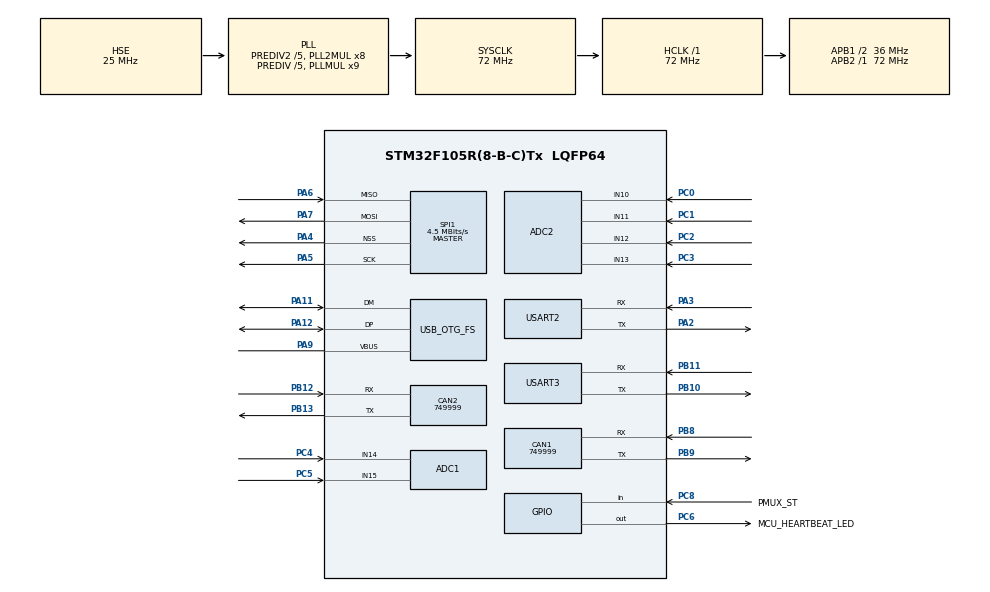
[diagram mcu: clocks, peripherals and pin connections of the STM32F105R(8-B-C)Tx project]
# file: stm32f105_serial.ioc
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ADC1.Channel-1\#ChannelRegularConversion=ADC_CHANNEL_14
ADC1.NbrOfConversionFlag=1
ADC1.Rank-1\#ChannelRegularConversion=1
ADC1.SamplingTime-1\#ChannelRegularConversion=ADC_SAMPLETIME_1CYCLE_5
ADC1.master=1
ADC2.Channel-0\#ChannelRegularConversion=ADC_CHANNEL_10
ADC2.NbrOfConversionFlag=1
ADC2.Rank-0\#ChannelRegularConversion=1
ADC2.SamplingTime-0\#ChannelRegularConversion=ADC_SAMPLETIME_1CYCLE_5
CAN1.BS1=CAN_BS1_1TQ
CAN1.BS2=CAN_BS2_1TQ
CAN1.CalculateBaudRate=749999
CAN1.CalculateTimeBit=1333
CAN1.CalculateTimeQuantum=444.44444444444446
CAN2.BS1=CAN_BS1_1TQ
CAN2.BS2=CAN_BS2_1TQ
CAN2.CalculateBaudRate=749999
CAN2.CalculateTimeBit=1333
CAN2.CalculateTimeQuantum=444.44444444444446
Mcu.Family=STM32F1
Mcu.Name=STM32F105R(8-B-C)Tx
Mcu.Package=LQFP64
NVIC.PriorityGroup=NVIC_PRIORITYGROUP_4
PA0-WKUP.GPIO_Label=MCU_USB_INT
PA0-WKUP.Mode=SYS_WakeUp0
PA0-WKUP.Signal=SYS_WKUP
PA11.Mode=Device_Only
PA11.Signal=USB_OTG_FS_DM
PA12.Mode=Device_Only
PA12.Signal=USB_OTG_FS_DP
PA13.Mode=Serial_Wire
PA13.Signal=SYS_JTMS-SWDIO
PA14.Mode=Serial_Wire
PA14.Signal=SYS_JTCK-SWCLK
PA2.Mode=Asynchronous
PA2.Signal=USART2_TX
PA3.Mode=Asynchronous
PA3.Signal=USART2_RX
PA4.Mode=NSS_Signal_Hard_Output
PA4.Signal=SPI1_NSS
PA5.Mode=Full_Duplex_Master
PA5.Signal=SPI1_SCK
PA6.Mode=Full_Duplex_Master
PA6.Signal=SPI1_MISO
PA7.Mode=Full_Duplex_Master
PA7.Signal=SPI1_MOSI
PA9.Mode=Activate_VBUS
PA9.Signal=USB_OTG_FS_VBUS
PB10.Mode=Asynchronous
PB10.Signal=USART3_TX
PB11.Mode=Asynchronous
PB11.Signal=USART3_RX
PB12.Mode=CAN_Activate
PB12.Signal=CAN2_RX
PB13.Mode=CAN_Activate
PB13.Signal=CAN2_TX
PB8.Mode=CAN_Activate
PB8.Signal=CAN1_RX
PB9.Mode=CAN_Activate
PB9.Signal=CAN1_TX
PC0.Signal=ADCx_IN10
PC1.Signal=ADCx_IN11
PC14-OSC32_IN.Mode=LSE-External-Oscillator
PC14-OSC32_IN.Signal=RCC_OSC32_IN
PC15-OSC32_OUT.Mode=LSE-External-Oscillator
PC15-OSC32_OUT.Signal=RCC_OSC32_OUT
PC2.Signal=ADCx_IN12
PC3.Signal=ADCx_IN13
PC4.Signal=ADCx_IN14
PC5.Signal=ADCx_IN15
PC6.GPIO_Label=MCU_HEARTBEAT_LED
PC6.Signal=GPIO_Output
PC8.GPIO_Label=PMUX_ST
PC8.Signal=GPIO_Input
PD0-OSC_IN.Mode=HSE-External-Oscillator
PD0-OSC_IN.Signal=RCC_OSC_IN
PD1-OSC_OUT.Mode=HSE-External-Oscillator
PD1-OSC_OUT.Signal=RCC_OSC_OUT
ProjectManager.HeapSize=0x200
ProjectManager.StackSize=0x400
ProjectManager.TargetToolchain=STM32CubeIDE
RCC.ADCPresc=RCC_ADCPCLK2_DIV6
RCC.AHBFreq_Value=72000000
RCC.APB1CLKDivider=RCC_HCLK_DIV2
RCC.APB1Freq_Value=36000000
RCC.APB1TimFreq_Value=72000000
RCC.APB2Freq_Value=72000000
RCC.APB2TimFreq_Value=72000000
RCC.HCLKFreq_Value=72000000
RCC.HSEDivPLL=RCC_HSE_PREDIV_DIV5
RCC.HSE_VALUE=25000000
RCC.PLLMUL=RCC_PLL_MUL9
RCC.PLLSourceVirtual=RCC_PLLSOURCE_HSE
RCC.Prediv1Source=RCC_PREDIV1_SOURCE_PLL2
RCC.Prediv2=RCC_HSE_PREDIV2_DIV5
RCC.SYSCLKFreq_VALUE=72000000
RCC.SYSCLKSource=RCC_SYSCLKSOURCE_PLLCLK
RCC.USBFreq_Value=48000000
SH.ADCx_IN10.0=ADC2_IN10,IN10
SH.ADCx_IN11.0=ADC2_IN11,IN11
SH.ADCx_IN12.0=ADC2_IN12,IN12
SH.ADCx_IN13.0=ADC2_IN13,IN13
SH.ADCx_IN14.0=ADC1_IN14,IN14
SH.ADCx_IN15.0=ADC1_IN15,IN15
SPI1.BaudRatePrescaler=SPI_BAUDRATEPRESCALER_16
SPI1.CalculateBaudRate=4.5 MBits/s
SPI1.Direction=SPI_DIRECTION_2LINES
SPI1.Mode=SPI_MODE_MASTER
SPI1.VirtualNSS=VM_NSSHARD
SPI1.VirtualType=VM_MASTER
TIM7.AutoReloadPreload=TIM_AUTORELOAD_PRELOAD_ENABLE
TIM7.Period=65535
TIM7.Prescaler=0
USART2.VirtualMode=VM_ASYNC
USART3.VirtualMode=VM_ASYNC
USB_OTG_FS.VirtualMode=Device_Only
VP_TIM7_VS_ClockSourceINT.Mode=Enable_Timer
board=custom

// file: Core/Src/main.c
/* USER CODE BEGIN Header */
/**
  ******************************************************************************
  * @file           : main.c
  * @brief          : Main program body
  ******************************************************************************
  * @attention
  *
  * Copyright (c) 2023 STMicroelectronics.
  * All rights reserved.
  *
  * This software is licensed under terms that can be found in the LICENSE file
  * in the root directory of this software component.
  * If no LICENSE file comes with this software, it is provided AS-IS.
  *
  ******************************************************************************
  */
/* USER CODE END Header */
#include "main.h"
#include "adc.h"
#include "can.h"
#include "spi.h"
#include "tim.h"
#include "usart.h"
#include "usb_device.h"
#include "gpio.h"

/* USER CODE BEGIN PD */
#define LED_HEARTBEAT_DELAY_MS	500 //500ms update delay
/* USER CODE END PD */

/* USER CODE BEGIN PV */
typedef struct _GpioTimePacket {
	GPIO_TypeDef 	*gpio_port; //Port
	uint16_t		gpio_pin;	//Pin number
	uint32_t 		ts_prev;	//Previous timestamp
	uint32_t 		ts_curr; 	//Current timestamp
} GpioTimePacket;

/* USER CODE END PV */

void SystemClock_Config(void);
/* USER CODE BEGIN PFP */
void GpioTimePacket_Init(GpioTimePacket *gtp, GPIO_TypeDef *port, uint16_t pin);

void GpioFixedToggle(GpioTimePacket *gtp, uint16_t update_ms);

/* USER CODE END PFP */

int main(void)
{
  /* USER CODE BEGIN 1 */
	GpioTimePacket tp_led_heartbeat;

  /* USER CODE END 1 */

  /* MCU Configuration--------------------------------------------------------*/

  /* Reset of all peripherals, Initializes the Flash interface and the Systick. */
  HAL_Init();

  /* Configure the system clock */
  SystemClock_Config();

  /* Initialize all configured peripherals */
  MX_GPIO_Init();
  MX_ADC1_Init();
  MX_ADC2_Init();
  MX_CAN1_Init();
  MX_CAN2_Init();
  MX_TIM7_Init();
  MX_SPI1_Init();
  MX_USART2_UART_Init();
  MX_USART3_UART_Init();
  MX_USB_DEVICE_Init();
  /* USER CODE BEGIN 2 */

  //Start timer
  GpioTimePacket_Init(&tp_led_heartbeat, MCU_HEARTBEAT_LED_GPIO_Port, MCU_HEARTBEAT_LED_Pin);

  /* USER CODE END 2 */

  /* Infinite loop */
  while (1)
  {
	  GpioFixedToggle(&tp_led_heartbeat, LED_HEARTBEAT_DELAY_MS);
  }
}

void SystemClock_Config(void)
{
  RCC_OscInitTypeDef RCC_OscInitStruct = {0};
  RCC_ClkInitTypeDef RCC_ClkInitStruct = {0};
  RCC_PeriphCLKInitTypeDef PeriphClkInit = {0};

  /** Initializes the RCC Oscillators according to the specified parameters
  * in the RCC_OscInitTypeDef structure.
  */
  RCC_OscInitStruct.OscillatorType = RCC_OSCILLATORTYPE_HSE;
  RCC_OscInitStruct.HSEState = RCC_HSE_ON;
  RCC_OscInitStruct.HSEPredivValue = RCC_HSE_PREDIV_DIV5;
  RCC_OscInitStruct.HSIState = RCC_HSI_ON;
  RCC_OscInitStruct.Prediv1Source = RCC_PREDIV1_SOURCE_PLL2;
  RCC_OscInitStruct.PLL.PLLState = RCC_PLL_ON;
  RCC_OscInitStruct.PLL.PLLSource = RCC_PLLSOURCE_HSE;
  RCC_OscInitStruct.PLL.PLLMUL = RCC_PLL_MUL9;
  RCC_OscInitStruct.PLL2.PLL2State = RCC_PLL2_ON;
  RCC_OscInitStruct.PLL2.PLL2MUL = RCC_PLL2_MUL8;
  RCC_OscInitStruct.PLL2.HSEPrediv2Value = RCC_HSE_PREDIV2_DIV5;
  if (HAL_RCC_OscConfig(&RCC_OscInitStruct) != HAL_OK)
  {
    Error_Handler();
  }

  /** Initializes the CPU, AHB and APB buses clocks
  */
  RCC_ClkInitStruct.ClockType = RCC_CLOCKTYPE_HCLK|RCC_CLOCKTYPE_SYSCLK
                              |RCC_CLOCKTYPE_PCLK1|RCC_CLOCKTYPE_PCLK2;
  RCC_ClkInitStruct.SYSCLKSource = RCC_SYSCLKSOURCE_PLLCLK;
  RCC_ClkInitStruct.AHBCLKDivider = RCC_SYSCLK_DIV1;
  RCC_ClkInitStruct.APB1CLKDivider = RCC_HCLK_DIV2;
  RCC_ClkInitStruct.APB2CLKDivider = RCC_HCLK_DIV1;

  if (HAL_RCC_ClockConfig(&RCC_ClkInitStruct, FLASH_LATENCY_2) != HAL_OK)
  {
    Error_Handler();
  }
  PeriphClkInit.PeriphClockSelection = RCC_PERIPHCLK_ADC|RCC_PERIPHCLK_USB;
  PeriphClkInit.AdcClockSelection = RCC_ADCPCLK2_DIV6;
  PeriphClkInit.UsbClockSelection = RCC_USBCLKSOURCE_PLL_DIV3;
  if (HAL_RCCEx_PeriphCLKConfig(&PeriphClkInit) != HAL_OK)
  {
    Error_Handler();
  }

  /** Configure the Systick interrupt time
  */
  __HAL_RCC_PLLI2S_ENABLE();
}

/* USER CODE BEGIN 4 */

//Initialize struct values
//Will initialize GPIO to LOW!
void GpioTimePacket_Init(GpioTimePacket *gtp, GPIO_TypeDef *port, uint16_t pin)
{
	HAL_GPIO_WritePin(port, pin, GPIO_PIN_RESET); //Set GPIO LOW
	gtp->gpio_port	= port;
	gtp->gpio_pin	= pin;
	gtp->ts_prev 	= 0; //Init to 0
	gtp->ts_curr 	= 0; //Init to 0
}

//update_ms = update after X ms
void GpioFixedToggle(GpioTimePacket *gtp, uint16_t update_ms)
{
	gtp->ts_curr = HAL_GetTick(); //Record current timestamp

	if (gtp->ts_curr - gtp->ts_prev > update_ms) {
		HAL_GPIO_TogglePin(gtp->gpio_port, gtp->gpio_pin); // Toggle GPIO
		gtp->ts_prev = gtp->ts_curr;
	}
}

/* USER CODE END 4 */

void Error_Handler(void)
{
  __disable_irq();
  while (1)
  {
  }
}
